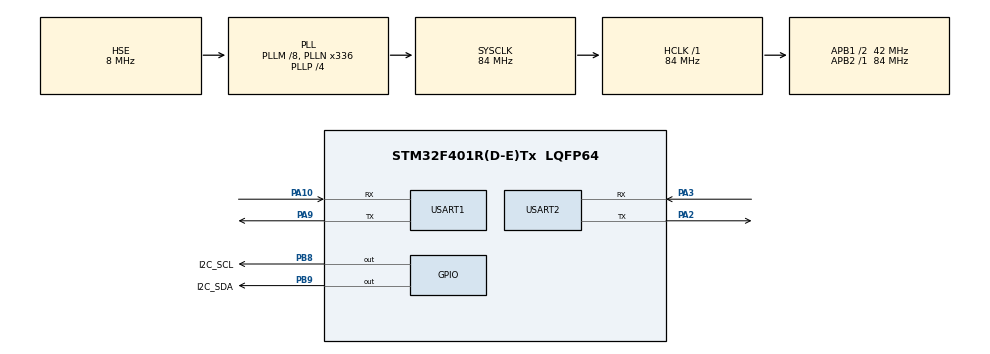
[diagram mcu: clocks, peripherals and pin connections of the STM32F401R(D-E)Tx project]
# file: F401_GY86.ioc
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Mcu.Family=STM32F4
Mcu.Name=STM32F401R(D-E)Tx
Mcu.Package=LQFP64
NVIC.PriorityGroup=NVIC_PRIORITYGROUP_4
PA10.Mode=Asynchronous
PA10.Signal=USART1_RX
PA13.Mode=Serial_Wire
PA13.Signal=SYS_JTMS-SWDIO
PA14.Mode=Serial_Wire
PA14.Signal=SYS_JTCK-SWCLK
PA2.Mode=Asynchronous
PA2.Signal=USART2_TX
PA3.Mode=Asynchronous
PA3.Signal=USART2_RX
PA9.Mode=Asynchronous
PA9.Signal=USART1_TX
PB8.GPIO_Label=I2C_SCL
PB8.GPIO_ModeDefaultOutputPP=GPIO_MODE_OUTPUT_OD
PB8.GPIO_PuPd=GPIO_PULLUP
PB8.GPIO_Speed=GPIO_SPEED_FREQ_VERY_HIGH
PB8.PinState=GPIO_PIN_SET
PB8.Signal=GPIO_Output
PB9.GPIO_Label=I2C_SDA
PB9.GPIO_ModeDefaultOutputPP=GPIO_MODE_OUTPUT_OD
PB9.GPIO_PuPd=GPIO_PULLUP
PB9.GPIO_Speed=GPIO_SPEED_FREQ_VERY_HIGH
PB9.PinState=GPIO_PIN_SET
PB9.Signal=GPIO_Output
PC14-OSC32_IN.Mode=LSE-External-Oscillator
PC14-OSC32_IN.Signal=RCC_OSC32_IN
PC15-OSC32_OUT.Mode=LSE-External-Oscillator
PC15-OSC32_OUT.Signal=RCC_OSC32_OUT
PH0\ -\ OSC_IN.Mode=HSE-External-Oscillator
PH0\ -\ OSC_IN.Signal=RCC_OSC_IN
PH1\ -\ OSC_OUT.Mode=HSE-External-Oscillator
PH1\ -\ OSC_OUT.Signal=RCC_OSC_OUT
ProjectManager.HeapSize=0x200
ProjectManager.StackSize=0x400
ProjectManager.TargetToolchain=MDK-ARM V5.32
RCC.48MHZClocksFreq_Value=84000000
RCC.AHBFreq_Value=84000000
RCC.APB1CLKDivider=RCC_HCLK_DIV2
RCC.APB1Freq_Value=42000000
RCC.APB1TimFreq_Value=84000000
RCC.APB2Freq_Value=84000000
RCC.APB2TimFreq_Value=84000000
RCC.CortexFreq_Value=84000000
RCC.HCLKFreq_Value=84000000
RCC.HSE_VALUE=8000000
RCC.HSI_VALUE=16000000
RCC.PLLM=8
RCC.PLLN=336
RCC.PLLP=RCC_PLLP_DIV4
RCC.PLLSourceVirtual=RCC_PLLSOURCE_HSE
RCC.SYSCLKFreq_VALUE=84000000
RCC.SYSCLKSource=RCC_SYSCLKSOURCE_PLLCLK
RCC.VCOOutputFreq_Value=336000000
USART1.VirtualMode=VM_ASYNC
USART2.VirtualMode=VM_ASYNC
board=custom

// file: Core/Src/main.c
/* USER CODE BEGIN Header */
/**
  ******************************************************************************
  * @file           : main.c
  * @brief          : Main program body
  ******************************************************************************
  * @attention
  *
  * Copyright (c) 2026 STMicroelectronics.
  * All rights reserved.
  *
  * This software is licensed under terms that can be found in the LICENSE file
  * in the root directory of this software component.
  * If no LICENSE file comes with this software, it is provided AS-IS.
  *
  ******************************************************************************
  */
/* USER CODE END Header */
#include "main.h"

/* USER CODE BEGIN Includes */
#include "gy86.h"
#include "stdio.h"
/* USER CODE END Includes */

/* USER CODE BEGIN PD */
#define ACCEL_SENS  2048.0f   // ±16g
#define GYRO_SENS   131.0f     // ±250°/s
#define MAG_GAIN    1090.0f    // ±1.3Ga，若改了配置寄存器B需同步修改
/* USER CODE END PD */

UART_HandleTypeDef huart1;
UART_HandleTypeDef huart2;

void SystemClock_Config(void);
static void MX_GPIO_Init(void);
static void MX_USART1_UART_Init(void);
static void MX_USART2_UART_Init(void);

/* USER CODE BEGIN 0 */
// 重定向 printf 到 USART2
int fputc(int ch, FILE *f)
{
    // 调用HAL库，将单个字符 ch 通过 huart2 发送出去，超时时间设为最大值（阻塞发送）
    HAL_UART_Transmit(&huart2, (uint8_t *)&ch, 1, HAL_MAX_DELAY);
    return ch;
}
/* USER CODE END 0 */

int main(void)
{

  /* USER CODE BEGIN 1 */
	float pressure, temperature;
  int16_t ax, ay, az;
  int16_t gx, gy, gz;
  int16_t mx, my, mz;
  /* USER CODE END 1 */

  /* MCU Configuration--------------------------------------------------------*/

  /* Reset of all peripherals, Initializes the Flash interface and the Systick. */
  HAL_Init();

  /* Configure the system clock */
  SystemClock_Config();

  /* Initialize all configured peripherals */
  MX_GPIO_Init();
  MX_USART1_UART_Init();
  MX_USART2_UART_Init();
  /* USER CODE BEGIN 2 */
	GY86_Init();

  /* USER CODE END 2 */

  /* Infinite loop */
  /* USER CODE BEGIN WHILE */
  while (1)
  {
		float pressure, temperature;
    MS5611_GetData(&pressure, &temperature);
    printf("MS5611: T=%.2f C, P=%.2f hPa\r\n", temperature, pressure);

    int16_t ax, ay, az, gx, gy, gz;
    MPU6050_GetData(&ax, &ay, &az, &gx, &gy, &gz);
    printf("MPU6050: A=(%.3f, %.3f, %.3f) g, G=(%.2f, %.2f, %.2f) dps\r\n", ax / ACCEL_SENS, ay / ACCEL_SENS, az / ACCEL_SENS, gx / GYRO_SENS,  gy / GYRO_SENS,  gz / GYRO_SENS);

    int16_t mx, my, mz;
    HMC5883L_GetData(&mx, &my, &mz);
    printf("HMC5883L: M=(%.3f, %.3f, %.3f) Gauss\r\n",mx / MAG_GAIN, my / MAG_GAIN, mz / MAG_GAIN);

    HAL_Delay(500);
    /* USER CODE END WHILE */

  }
}

void SystemClock_Config(void)
{
  RCC_OscInitTypeDef RCC_OscInitStruct = {0};
  RCC_ClkInitTypeDef RCC_ClkInitStruct = {0};

  /** Configure the main internal regulator output voltage
  */
  __HAL_RCC_PWR_CLK_ENABLE();
  __HAL_PWR_VOLTAGESCALING_CONFIG(PWR_REGULATOR_VOLTAGE_SCALE2);

  /** Initializes the RCC Oscillators according to the specified parameters
  * in the RCC_OscInitTypeDef structure.
  */
  RCC_OscInitStruct.OscillatorType = RCC_OSCILLATORTYPE_HSE;
  RCC_OscInitStruct.HSEState = RCC_HSE_ON;
  RCC_OscInitStruct.PLL.PLLState = RCC_PLL_ON;
  RCC_OscInitStruct.PLL.PLLSource = RCC_PLLSOURCE_HSE;
  RCC_OscInitStruct.PLL.PLLM = 8;
  RCC_OscInitStruct.PLL.PLLN = 336;
  RCC_OscInitStruct.PLL.PLLP = RCC_PLLP_DIV4;
  RCC_OscInitStruct.PLL.PLLQ = 4;
  if (HAL_RCC_OscConfig(&RCC_OscInitStruct) != HAL_OK)
  {
    Error_Handler();
  }

  /** Initializes the CPU, AHB and APB buses clocks
  */
  RCC_ClkInitStruct.ClockType = RCC_CLOCKTYPE_HCLK|RCC_CLOCKTYPE_SYSCLK
                              |RCC_CLOCKTYPE_PCLK1|RCC_CLOCKTYPE_PCLK2;
  RCC_ClkInitStruct.SYSCLKSource = RCC_SYSCLKSOURCE_PLLCLK;
  RCC_ClkInitStruct.AHBCLKDivider = RCC_SYSCLK_DIV1;
  RCC_ClkInitStruct.APB1CLKDivider = RCC_HCLK_DIV2;
  RCC_ClkInitStruct.APB2CLKDivider = RCC_HCLK_DIV1;

  if (HAL_RCC_ClockConfig(&RCC_ClkInitStruct, FLASH_LATENCY_2) != HAL_OK)
  {
    Error_Handler();
  }
}

static void MX_USART1_UART_Init(void)
{

  huart1.Instance = USART1;
  huart1.Init.BaudRate = 115200;
  huart1.Init.WordLength = UART_WORDLENGTH_8B;
  huart1.Init.StopBits = UART_STOPBITS_1;
  huart1.Init.Parity = UART_PARITY_NONE;
  huart1.Init.Mode = UART_MODE_TX_RX;
  huart1.Init.HwFlowCtl = UART_HWCONTROL_NONE;
  huart1.Init.OverSampling = UART_OVERSAMPLING_16;
  if (HAL_UART_Init(&huart1) != HAL_OK)
  {
    Error_Handler();
  }

}

static void MX_USART2_UART_Init(void)
{

  huart2.Instance = USART2;
  huart2.Init.BaudRate = 115200;
  huart2.Init.WordLength = UART_WORDLENGTH_8B;
  huart2.Init.StopBits = UART_STOPBITS_1;
  huart2.Init.Parity = UART_PARITY_NONE;
  huart2.Init.Mode = UART_MODE_TX_RX;
  huart2.Init.HwFlowCtl = UART_HWCONTROL_NONE;
  huart2.Init.OverSampling = UART_OVERSAMPLING_16;
  if (HAL_UART_Init(&huart2) != HAL_OK)
  {
    Error_Handler();
  }

}

static void MX_GPIO_Init(void)
{
  GPIO_InitTypeDef GPIO_InitStruct = {0};

  /* GPIO Ports Clock Enable */
  __HAL_RCC_GPIOC_CLK_ENABLE();
  __HAL_RCC_GPIOH_CLK_ENABLE();
  __HAL_RCC_GPIOA_CLK_ENABLE();
  __HAL_RCC_GPIOB_CLK_ENABLE();

  /*Configure GPIO pin Output Level */
  HAL_GPIO_WritePin(GPIOB, I2C_SCL_Pin|I2C_SDA_Pin, GPIO_PIN_SET);

  /*Configure GPIO pins : I2C_SCL_Pin I2C_SDA_Pin */
  GPIO_InitStruct.Pin = I2C_SCL_Pin|I2C_SDA_Pin;
  GPIO_InitStruct.Mode = GPIO_MODE_OUTPUT_OD;
  GPIO_InitStruct.Pull = GPIO_PULLUP;
  GPIO_InitStruct.Speed = GPIO_SPEED_FREQ_VERY_HIGH;
  HAL_GPIO_Init(GPIOB, &GPIO_InitStruct);

}

void Error_Handler(void)
{
  __disable_irq();
  while (1)
  {
  }
}
